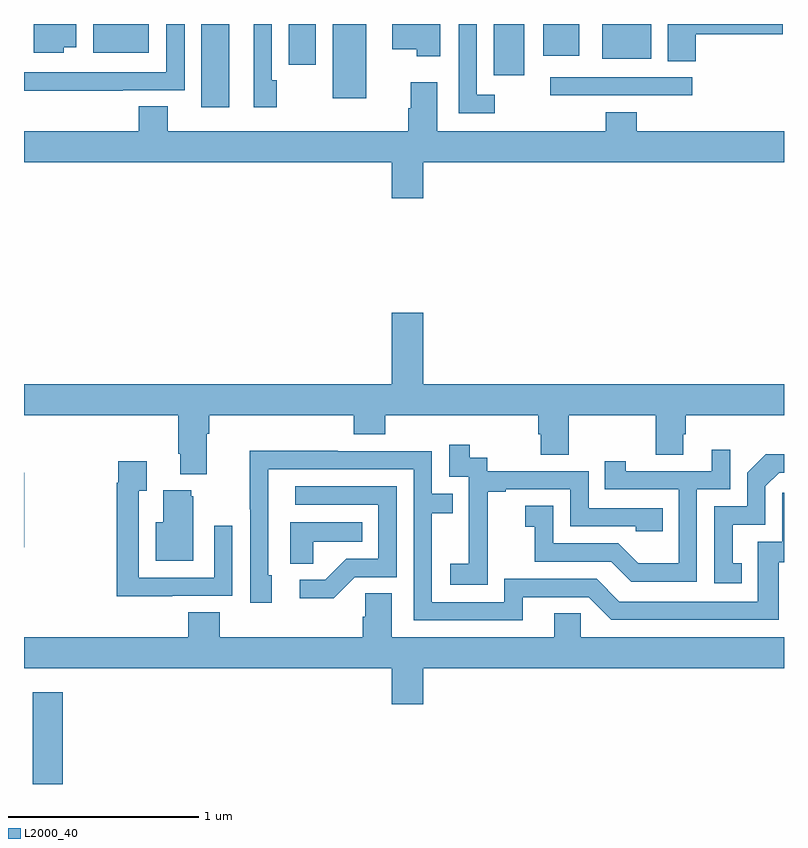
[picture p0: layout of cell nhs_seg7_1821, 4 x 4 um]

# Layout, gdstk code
import gdstk
lib = gdstk.Library(unit=1e-6, precision=1e-09)
def R(c, l, rs):  # rectangles x0, y0, x1, y1
    for r in rs: c.add(gdstk.rectangle(r[:2], r[2:], *l))
def P(c, l, *ps):  # polygons
    for p in ps: c.add(gdstk.Polygon(p, *l))
L2000_40 = (2000, 40)

nhs_seg7_1821 = lib.new_cell('nhs_seg7_1821')
R(nhs_seg7_1821, L2000_40, [(235.046,1008,235.205,1008.484), (235,1009.245,235.001,1009.639), (235.934,1011.561,236.08,1012), (236.624,1011.608,236.8,1012), (237.771,1011.624,238.516,1011.72), (237.473,1011.729,237.634,1012), (236.393,1011.786,236.536,1012), (238.043,1011.818,238.3,1012), (237.734,1011.833,237.922,1012), (235.364,1011.848,235.657,1012)])
P(nhs_seg7_1821, L2000_40, [(238.535,1011.947),(238.993,1011.947),(238.993,1012),(238.388,1012),(238.388,1011.805),(238.535,1011.805)],
  [(235.52,1011.651),(235.845,1011.651),(235.845,1012),(235.749,1012),(235.749,1011.747),(235,1011.747),(235,1011.65),(235.52,1011.65)],
  [(235.21,1011.878),(235.276,1011.878),(235.276,1012),(235.052,1012),(235.052,1011.848),(235.21,1011.848)],
  [(236.331,1011.705),(236.304,1011.705),(236.304,1012),(236.208,1012),(236.208,1011.561),(236.331,1011.561)],
  [(237.478,1011.627),(237.384,1011.627),(237.384,1012),(237.288,1012),(237.288,1011.531),(237.478,1011.531)],
  [(237.19,1012),(236.939,1012),(236.939,1011.866),(237.068,1011.866),(237.068,1011.83),(237.19,1011.83)],
  [(237.1,1011.272),(239,1011.272),(239,1011.436),(238.226,1011.436),(238.226,1011.535),(238.061,1011.535),(238.061,1011.436),(237.175,1011.436),(237.175,1011.694),(237.035,1011.694),(237.035,1011.557),(237.023,1011.557),(237.023,1011.436),(235.756,1011.436),(235.756,1011.566),(235.604,1011.566),(235.604,1011.436),(235,1011.436),(235,1011.272),(236.936,1011.272),(236.936,1011.084),(237.1,1011.084)],
  [(235.963,1009.844),(235.976,1009.844),(235.976,1009.94),(236.735,1009.94),(236.735,1009.841),(236.9,1009.841),(236.9,1009.94),(237.707,1009.94),(237.707,1009.842),(237.719,1009.842),(237.719,1009.732),(237.867,1009.732),(237.867,1009.94),(238.324,1009.94),(238.324,1009.732),(238.471,1009.732),(238.471,1009.842),(238.484,1009.842),(238.484,1009.94),(239,1009.94),(239,1010.104),(237.1,1010.104),(237.1,1010.479),(236.936,1010.479),(236.936,1010.104),(235,1010.104),(235,1009.94),(235.811,1009.94),(235.811,1009.738),(235.823,1009.738),(235.823,1009.631),(235.963,1009.631)],
  [(237.441,1009.255),(237.44,1009.255),(237.44,1009.539),(237.535,1009.539),(237.535,1009.551),(237.876,1009.551),(237.876,1009.356),(238.221,1009.356),(238.221,1009.329),(238.361,1009.329),(238.361,1009.452),(237.972,1009.452),(237.972,1009.647),(237.438,1009.647),(237.438,1009.716),(237.346,1009.716),(237.346,1009.786),(237.237,1009.786),(237.237,1009.617),(237.342,1009.617),(237.342,1009.388),(237.341,1009.388),(237.341,1009.159),(237.243,1009.159),(237.243,1009.049),(237.441,1009.049)],
  [(238.542,1009.551),(238.716,1009.551),(238.716,1009.759),(238.619,1009.759),(238.619,1009.647),(238.168,1009.647),(238.168,1009.699),(238.057,1009.699),(238.057,1009.551),(238.446,1009.551),(238.446,1009.162),(238.232,1009.162),(238.128,1009.266),(237.786,1009.266),(237.786,1009.465),(237.639,1009.465),(237.639,1009.355),(237.688,1009.355),(237.688,1009.17),(238.091,1009.17),(238.196,1009.065),(238.542,1009.065)],
  [(237.625,1008.984),(237.972,1008.984),(238.092,1008.864),(238.972,1008.864),(238.972,1009.167),(239,1009.167),(239,1009.534),(238.992,1009.534),(238.992,1009.275),(238.863,1009.275),(238.863,1008.96),(238.134,1008.96),(238.014,1009.08),(237.528,1009.08),(237.528,1008.957),(237.147,1008.957),(237.147,1009.426),(237.257,1009.426),(237.257,1009.527),(237.147,1009.527),(237.147,1009.752),(236.651,1009.752),(236.651,1009.754),(236.188,1009.754),(236.188,1009.447),(236.19,1009.447),(236.19,1008.954),(236.305,1008.954),(236.305,1009.098),(236.286,1009.098),(236.286,1009.656),(237.051,1009.656),(237.051,1008.861),(237.625,1008.861)],
  [(238.778,1009.161),(238.729,1009.161),(238.729,1009.365),(238.902,1009.365),(238.902,1009.566),(238.974,1009.638),(239,1009.638),(239,1009.736),(238.904,1009.736),(238.806,1009.638),(238.806,1009.461),(238.632,1009.461),(238.632,1009.056),(238.778,1009.056)],
  [(235.781,1008.99),(236.097,1008.99),(236.097,1009.36),(236.001,1009.36),(236.001,1009.086),(235.605,1009.086),(235.605,1009.543),(235.645,1009.543),(235.645,1009.699),(235.497,1009.699),(235.497,1009.586),(235.489,1009.586),(235.489,1008.989),(235.781,1008.989)],
  [(236.742,1009.089),(236.961,1009.089),(236.961,1009.566),(236.427,1009.566),(236.427,1009.47),(236.865,1009.47),(236.865,1009.185),(236.696,1009.185),(236.585,1009.074),(236.451,1009.074),(236.451,1008.977),(236.629,1008.977)],
  [(235.891,1009.515),(235.88,1009.515),(235.88,1009.546),(235.733,1009.546),(235.733,1009.378),(235.694,1009.378),(235.694,1009.175),(235.891,1009.175)],
  [(236.523,1009.274),(236.78,1009.274),(236.78,1009.378),(236.402,1009.378),(236.402,1009.159),(236.523,1009.159)],
  [(237.1,1008.608),(239,1008.608),(239,1008.772),(237.93,1008.772),(237.93,1008.899),(237.791,1008.899),(237.791,1008.772),(236.935,1008.772),(236.935,1009.004),(236.796,1009.004),(236.796,1008.881),(236.783,1008.881),(236.783,1008.772),(236.03,1008.772),(236.03,1008.905),(235.865,1008.905),(235.865,1008.772),(235,1008.772),(235,1008.608),(236.936,1008.608),(236.936,1008.42),(237.1,1008.42)])

lib.write_gds('nhs_seg7_1821.gds')
